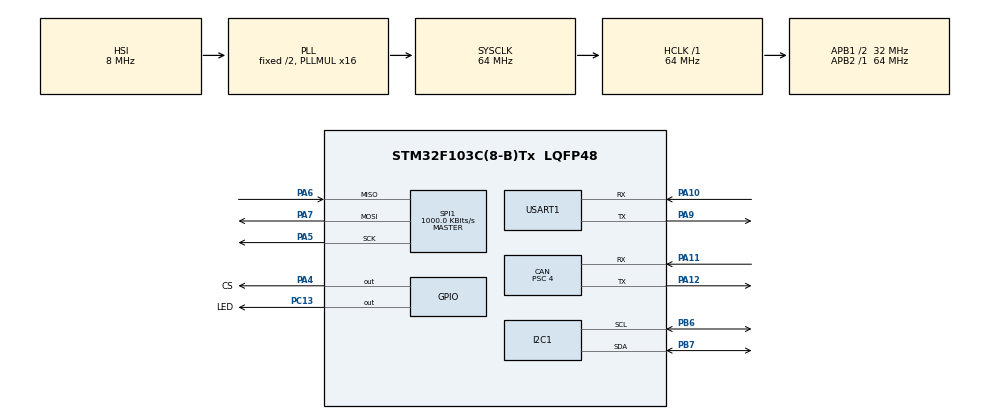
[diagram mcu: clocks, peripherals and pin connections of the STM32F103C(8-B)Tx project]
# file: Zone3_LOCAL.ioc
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CAN.ABOM=ENABLE
CAN.BS1=CAN_BS1_12TQ
CAN.BS2=CAN_BS2_3TQ
CAN.CalculateBaudRate=500000
CAN.CalculateTimeBit=2000
CAN.CalculateTimeQuantum=125.0
CAN.NART=ENABLE
CAN.Prescaler=4
Dma.I2C1_RX.2.Direction=DMA_PERIPH_TO_MEMORY
Dma.I2C1_RX.2.Instance=DMA1_Channel7
Dma.I2C1_RX.2.MemDataAlignment=DMA_MDATAALIGN_BYTE
Dma.I2C1_RX.2.MemInc=DMA_MINC_ENABLE
Dma.I2C1_RX.2.Mode=DMA_NORMAL
Dma.I2C1_RX.2.PeriphDataAlignment=DMA_PDATAALIGN_BYTE
Dma.I2C1_RX.2.PeriphInc=DMA_PINC_DISABLE
Dma.I2C1_RX.2.Priority=DMA_PRIORITY_LOW
Dma.I2C1_TX.3.Direction=DMA_MEMORY_TO_PERIPH
Dma.I2C1_TX.3.Instance=DMA1_Channel6
Dma.I2C1_TX.3.MemDataAlignment=DMA_MDATAALIGN_BYTE
Dma.I2C1_TX.3.MemInc=DMA_MINC_ENABLE
Dma.I2C1_TX.3.Mode=DMA_NORMAL
Dma.I2C1_TX.3.PeriphDataAlignment=DMA_PDATAALIGN_BYTE
Dma.I2C1_TX.3.PeriphInc=DMA_PINC_DISABLE
Dma.I2C1_TX.3.Priority=DMA_PRIORITY_LOW
Dma.Request0=SPI1_TX
Dma.Request1=SPI1_RX
Dma.Request2=I2C1_RX
Dma.Request3=I2C1_TX
Dma.SPI1_RX.1.Direction=DMA_PERIPH_TO_MEMORY
Dma.SPI1_RX.1.Instance=DMA1_Channel2
Dma.SPI1_RX.1.MemDataAlignment=DMA_MDATAALIGN_BYTE
Dma.SPI1_RX.1.MemInc=DMA_MINC_ENABLE
Dma.SPI1_RX.1.Mode=DMA_NORMAL
Dma.SPI1_RX.1.PeriphDataAlignment=DMA_PDATAALIGN_BYTE
Dma.SPI1_RX.1.PeriphInc=DMA_PINC_DISABLE
Dma.SPI1_RX.1.Priority=DMA_PRIORITY_LOW
Dma.SPI1_TX.0.Direction=DMA_MEMORY_TO_PERIPH
Dma.SPI1_TX.0.Instance=DMA1_Channel3
Dma.SPI1_TX.0.MemDataAlignment=DMA_MDATAALIGN_BYTE
Dma.SPI1_TX.0.MemInc=DMA_MINC_ENABLE
Dma.SPI1_TX.0.Mode=DMA_NORMAL
Dma.SPI1_TX.0.PeriphDataAlignment=DMA_PDATAALIGN_BYTE
Dma.SPI1_TX.0.PeriphInc=DMA_PINC_DISABLE
Dma.SPI1_TX.0.Priority=DMA_PRIORITY_LOW
FREERTOS.Tasks01=CAN,48,128,canTask,Default,NULL,Dynamic,NULL,NULL;LED,40,128,ledTask,Default,NULL,Dynamic,NULL,NULL;Accel,32,128,accelTask,Default,NULL,Dynamic,NULL,NULL
I2C1.I2C_Mode=I2C_Fast
Mcu.Family=STM32F1
Mcu.Name=STM32F103C(8-B)Tx
Mcu.Package=LQFP48
NVIC.DMA1_Channel2_IRQn=true\:5\:0\:false\:false\:true\:true\:false\:true\:true
NVIC.DMA1_Channel3_IRQn=true\:5\:0\:false\:false\:true\:true\:false\:true\:true
NVIC.DMA1_Channel6_IRQn=true\:5\:0\:false\:false\:true\:true\:false\:true\:true
NVIC.DMA1_Channel7_IRQn=true\:5\:0\:false\:false\:true\:true\:false\:true\:true
NVIC.PriorityGroup=NVIC_PRIORITYGROUP_4
NVIC.SPI1_IRQn=true\:6\:0\:true\:false\:true\:false\:true\:true\:true
NVIC.USB_LP_CAN1_RX0_IRQn=true\:5\:0\:false\:false\:true\:true\:true\:true\:true
PA10.Mode=Asynchronous
PA10.Signal=USART1_RX
PA11.Mode=CAN_Activate
PA11.Signal=CAN_RX
PA12.Mode=CAN_Activate
PA12.Signal=CAN_TX
PA4.GPIO_Label=CS
PA4.GPIO_Speed=GPIO_SPEED_FREQ_HIGH
PA4.PinState=GPIO_PIN_SET
PA4.Signal=GPIO_Output
PA5.Mode=Full_Duplex_Master
PA5.Signal=SPI1_SCK
PA6.Mode=Full_Duplex_Master
PA6.Signal=SPI1_MISO
PA7.Mode=Full_Duplex_Master
PA7.Signal=SPI1_MOSI
PA9.Mode=Asynchronous
PA9.Signal=USART1_TX
PB6.Mode=I2C
PB6.Signal=I2C1_SCL
PB7.Mode=I2C
PB7.Signal=I2C1_SDA
PC13-TAMPER-RTC.GPIO_Label=LED
PC13-TAMPER-RTC.Signal=GPIO_Output
ProjectManager.HeapSize=0x200
ProjectManager.StackSize=0x400
ProjectManager.TargetToolchain=STM32CubeIDE
RCC.AHBFreq_Value=64000000
RCC.APB1CLKDivider=RCC_HCLK_DIV2
RCC.APB1Freq_Value=32000000
RCC.APB1TimFreq_Value=64000000
RCC.APB2Freq_Value=64000000
RCC.APB2TimFreq_Value=64000000
RCC.HCLKFreq_Value=64000000
RCC.PLLMUL=RCC_PLL_MUL16
RCC.SYSCLKFreq_VALUE=64000000
RCC.SYSCLKSource=RCC_SYSCLKSOURCE_PLLCLK
RCC.USBFreq_Value=64000000
SPI1.BaudRatePrescaler=SPI_BAUDRATEPRESCALER_64
SPI1.CalculateBaudRate=1000.0 KBits/s
SPI1.Direction=SPI_DIRECTION_2LINES
SPI1.Mode=SPI_MODE_MASTER
SPI1.VirtualType=VM_MASTER
USART1.VirtualMode=VM_ASYNC
VP_FREERTOS_VS_CMSIS_V2.Mode=CMSIS_V2
VP_SYS_VS_ND.Mode=No_Debug
board=custom

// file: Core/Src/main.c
#include "main.h"
#include "cmsis_os.h"

CAN_HandleTypeDef hcan;

I2C_HandleTypeDef hi2c1;
DMA_HandleTypeDef hdma_i2c1_rx;
DMA_HandleTypeDef hdma_i2c1_tx;

SPI_HandleTypeDef hspi1;
DMA_HandleTypeDef hdma_spi1_tx;
DMA_HandleTypeDef hdma_spi1_rx;

UART_HandleTypeDef huart1;

/* Definitions for CAN */
osThreadId_t CANHandle;
const osThreadAttr_t CAN_attributes = {
  .name = "CAN",
  .stack_size = 128 * 4,
  .priority = (osPriority_t) osPriorityRealtime,
};
/* Definitions for LED */
osThreadId_t LEDHandle;
const osThreadAttr_t LED_attributes = {
  .name = "LED",
  .stack_size = 128 * 4,
  .priority = (osPriority_t) osPriorityHigh,
};
/* Definitions for Accel */
osThreadId_t AccelHandle;
const osThreadAttr_t Accel_attributes = {
  .name = "Accel",
  .stack_size = 128 * 4,
  .priority = (osPriority_t) osPriorityAboveNormal,
};

void SystemClock_Config(void);
static void MX_GPIO_Init(void);
static void MX_DMA_Init(void);
static void MX_I2C1_Init(void);
static void MX_SPI1_Init(void);
static void MX_CAN_Init(void);
static void MX_USART1_UART_Init(void);
void canTask(void *argument);
void ledTask(void *argument);
void accelTask(void *argument);

// led 동작은 Zone3_LED의 main.c 참고
#include "ADXL345.h"
#include "string.h" //memcpy
#include "stdio.h" // snprinf 로깅용

#define OFF 		0x01
#define READY 		0x02
#define DRIVE 		0x04
#define EMERGENCY	0x08
#define MOTOR_ERR 	0x10
#define CENTRAL_DOWN 0x20
#define BROKEN_SELF 0x40

#define LED_OFF		0xFF // LED 모두 꺼라
#define LED_READY		0x01 // 환영등(Zone 4의 IR 감지 시): LED1 ON, LED2 OFF
#define LED_EMERGENCY 	0x02 // 비상등(Zone 1, 2의 충돌 감지 시): LED1 OFF, LED2 ON
#define LED_CENTER_DOWN	0x04 // 두 LED 모두 깜빡여서 중앙 Down 알림
#define LED_BROKEN_SELF 0x08 // 파란 LED 깜빡여서 스스로의 CAN 고장을 알림

#define FLAG_STATE_OFF			0x11
#define FLAG_STATE_READY		0x22
#define FLAG_STATE_DRIVE		0x44
#define FLAG_STATE_EMERGENCY	0x88

#define FLAG_SPI_DMA_COMPLETE		0x1111
#define FLAG_I2C_DMA_COMPLETE		0x2222

static uint8_t crc_xor(const uint8_t *p, int n) {
  uint8_t c = 0;
  for (int i = 0; i < n; i++) c ^= p[i];
  return c;
}

#pragma pack(push,1)
typedef struct{
	uint8_t header;
	int8_t data;
	uint8_t status;
	uint8_t seq;
	uint16_t reserved;
	uint8_t crc;
	uint8_t tail;
}SPI_Packet_t;
#pragma pack(pop)

typedef union{
	SPI_Packet_t pkt;
	uint8_t bytes[8];
}SPI_Buffer_t;

volatile uint8_t cnt = 0;

void HAL_SPI_TxRxCpltCallback(SPI_HandleTypeDef *hspi) {
    if (hspi->Instance == SPI1) // 사용 중인 SPI 인스턴스 확인
    {
    	osThreadFlagsSet(LEDHandle, FLAG_SPI_DMA_COMPLETE);
    }
}

void HAL_SPI_ErrorCallback(SPI_HandleTypeDef *hspi) {
    if (hspi->Instance == SPI1)
    {
    	osThreadFlagsSet(LEDHandle, FLAG_SPI_DMA_COMPLETE);
    }
}

void HAL_I2C_MemRxCpltCallback(I2C_HandleTypeDef *hi2c) {
    if (hi2c->Instance == I2C1) {
        osThreadFlagsSet(AccelHandle, FLAG_I2C_DMA_COMPLETE);
    }
}
// CAN

#define ID_1_SONIC 0x010
#define ID_1_PEDAL 0x040
#define ID_1_HB 0x071

#define ID_2_SONIC 0x011
#define ID_2_MOTOR_STATUS 0x110
#define ID_2_MOTOR_SPI_ERR 0x020
#define ID_2_HB 0x072

#define ID_3_ACC 0x012
#define ID_3_HB 0x073

#define ID_4_IR 0x142
#define ID_4_BTN 0x144
#define ID_4_HB 0x74

#define ID_CENTRAL_MOTOR_ERR 0x001
#define ID_CENTRAL_EMERGENCY 0x002
#define ID_CENTRAL_STATUS 0x004 // = HEARBEAT ID OF CENTRAL
#define ID_HARDWARE_ERR 0x7FF

typedef enum { // 에러 종류
    ERR_TYPE_RX_STUCK,    // 데이터 갱신 안됨
    ERR_TYPE_RX_TIMEOUT,  // 메시지 자체가 안옴 (heartbeat)
    ERR_TYPE_TX_FAIL,     // 송신 실패 (메일박스 꽉참 )
    ERR_TYPE_HW,          // 하드웨어 에러 (bus-off 등)
    ERR_TYPE_CHKSUM       // 데이터 변조 감지
} CAN_Err_Type;

typedef union {
    struct {
        uint16_t data;
        uint8_t reserved[4];
        uint8_t counter;
        uint8_t checksum;
    } __attribute__((packed)) data16;
    struct {
        uint16_t data1;
        uint16_t data2;
        uint8_t reserved[2];
        uint8_t counter;
        uint8_t checksum;
    } __attribute__((packed)) data32;
    struct {
        int16_t ax;
        int16_t ay;
        int16_t az;
    	uint8_t counter;
    	uint8_t checksum;
        } __attribute__((packed)) accel_data;
    uint8_t bytes[8];
} CAN_Payload_t;

typedef struct {
    int16_t x, y, z;
} AccelData_t;

AccelData_t g_accel_raw; // 공유 자원

typedef struct{
	uint8_t z1;
	uint8_t z2;
	uint8_t z3;
	uint8_t z4;
	uint8_t central;
} CAN_CNT;

CAN_CNT stuck_counter;
CAN_CNT last_counter;
CAN_CNT can_rx_err_cnt;
uint32_t last_zone_rx_time;
uint8_t state_global = OFF;
uint8_t global_tx_counter = 0;

void CAN_ERR_HANDLE(uint32_t ID, CAN_Err_Type type){ //송,수신 포괄 에러 처리
	switch(ID){
	case ID_3_ACC:
		if(type == ERR_TYPE_TX_FAIL){
			state_global = BROKEN_SELF;;
		}
		break;

	case ID_CENTRAL_STATUS:
		can_rx_err_cnt.central++;
		if(can_rx_err_cnt.central>=20 || type == ERR_TYPE_RX_TIMEOUT){
			state_global = CENTRAL_DOWN;
		}
		break;

	case ID_HARDWARE_ERR:
		if(type == ERR_TYPE_HW){
			state_global = BROKEN_SELF;
		}
		break;

	default:
		break;
	}
}

void HAL_CAN_RxFifo0MsgPendingCallback(CAN_HandleTypeDef *hcan)
{
    CAN_RxHeaderTypeDef rxHeader;
    CAN_Payload_t payload = {0};
    if(HAL_CAN_GetRxMessage(hcan, CAN_RX_FIFO0, &rxHeader, payload.bytes) == HAL_OK){
    	if(rxHeader.IDE == CAN_ID_STD){
		uint8_t received_sum = 0;
			for(int i = 0; i<7; i++){ // Checksum
				received_sum += payload.bytes[i];
			}
			if(received_sum != payload.bytes[7]) {
				CAN_ERR_HANDLE(rxHeader.StdId, ERR_TYPE_CHKSUM);
				return; // 이번거 데이터 오염되었다 판단, 그냥 건너뜀
			}
			// 이제 데이터 읽음
			switch(rxHeader.StdId){
			case ID_CENTRAL_MOTOR_ERR:
				if (payload.data16.counter == last_counter.central) {
					if (++stuck_counter.central > 5) {
						CAN_ERR_HANDLE(rxHeader.StdId, ERR_TYPE_RX_STUCK);
						return; // 처리 후 return
					}
				}
				else {
					stuck_counter.central = 0;
					last_counter.central = payload.data16.counter;
				}

				state_global = MOTOR_ERR; // state_global은 8bit인데, 8bit 대입은 atomic하게 처리된다. 별도의 cs나 락필요없
				can_rx_err_cnt.central = 0;
				last_zone_rx_time = HAL_GetTick(); // 중앙제어기 HeartBeat 감지용
				break;

			case ID_CENTRAL_EMERGENCY:
				if (payload.data16.counter == last_counter.central) {
					if (++stuck_counter.central > 5) {
						CAN_ERR_HANDLE(rxHeader.StdId, ERR_TYPE_RX_STUCK);
						return; // 처리 후 return
					}
				}
				else {
					stuck_counter.central = 0;
					last_counter.central = payload.data16.counter;
				}

				state_global = EMERGENCY;
				can_rx_err_cnt.central = 0;
				last_zone_rx_time = HAL_GetTick(); // 중앙제어기 HeartBeat 감지용
				break;

			case ID_CENTRAL_STATUS:
				if(payload.data16.counter == last_counter.central){
					if(++stuck_counter.central > 5){
					CAN_ERR_HANDLE(rxHeader.StdId, ERR_TYPE_RX_STUCK);
					return; // 처리 후 return
					}
				}
				else {
					stuck_counter.central = 0;
					last_counter.central = payload.data16.counter;
				}

				if(rxHeader.DLC == 8){
					state_global = payload.data16.data;
				}
				can_rx_err_cnt.central = 0;
				last_zone_rx_time = HAL_GetTick(); // 중앙제어기 HeartBeat 감지용
				break;
			}
    	}
    }
}

void CAN_INIT() {
	CAN_FilterTypeDef canFilter;

	canFilter.FilterBank = 0;
	canFilter.FilterMode = CAN_FILTERMODE_IDLIST;
	canFilter.FilterScale = CAN_FILTERSCALE_16BIT;
	canFilter.FilterIdHigh = (0x001 << 5);
	canFilter.FilterIdLow = (0x002 << 5);
	canFilter.FilterMaskIdHigh = (0x004 << 5);
	canFilter.FilterMaskIdLow = (0x000 << 5);
	canFilter.FilterFIFOAssignment = CAN_RX_FIFO0;
	canFilter.FilterActivation = ENABLE;
	canFilter.SlaveStartFilterBank = 14;

	if (HAL_CAN_ConfigFilter(&hcan, &canFilter) != HAL_OK) {
		Error_Handler();
	}

	HAL_CAN_Start(&hcan);
	HAL_CAN_ActivateNotification(&hcan, CAN_IT_RX_FIFO0_MSG_PENDING);
}

void HAL_CAN_ErrorCallback(CAN_HandleTypeDef *hcan) {
	      uint32_t err = HAL_CAN_GetError(hcan);
	      uint8_t any = 0;

	      if(err & HAL_CAN_ERROR_BOF){
	    	  any = 1;
	    	  CAN_ERR_HANDLE(ID_HARDWARE_ERR, ERR_TYPE_HW);
	      }

	      if(err & HAL_CAN_ERROR_ACK){
	    	  any = 1;
	    	  can_rx_err_cnt.central++;
	      }

	      if(err & HAL_CAN_ERROR_RX_FOV0){
	    	  any = 1;
	    	  CAN_RxHeaderTypeDef rxHeader;
	    	  uint8_t dummyData[8];

	    	  uint32_t fillLevel = HAL_CAN_GetRxFifoFillLevel(hcan, CAN_RX_FIFO0);

	    	  while (fillLevel > 0) {
	    	  HAL_CAN_GetRxMessage(hcan, CAN_RX_FIFO0, &rxHeader, dummyData);
	    	  fillLevel--;
	    	  }
	      }
	      if(!any){ // 위의 경우들은 아닌경우, 포괄에러처리
	    	  CAN_ERR_HANDLE(ID_HARDWARE_ERR, ERR_TYPE_HW);
	      }
}

void CAN_SEND(uint32_t ID) {
	    CAN_TxHeaderTypeDef txHeader ={0};
	    uint32_t txMailbox;
	    CAN_Payload_t payload ={0};
	    AccelData_t snap_accel;

	    txHeader.IDE = CAN_ID_STD;
	    txHeader.RTR = CAN_RTR_DATA;
	    txHeader.TransmitGlobalTime = DISABLE;
	    txHeader.StdId = ID;
	    txHeader.DLC = 8;

	    switch(ID){
		case ID_3_ACC:
			taskENTER_CRITICAL();
				snap_accel = g_accel_raw;
			taskEXIT_CRITICAL();
			payload.accel_data.ax = snap_accel.x;
			payload.accel_data.ay = snap_accel.y;
			payload.accel_data.az = snap_accel.z;
			break;
		default: // heartbeat
			payload.data16.data = state_global;
	    }

	    payload.data16.counter = global_tx_counter++;
	    uint8_t sum = 0;
	        for (int i = 0; i < 7; i++) {
	        	sum += payload.bytes[i];
	        }
	        payload.data16.checksum = sum;

	    uint32_t tick = HAL_GetTick();
	    while (HAL_CAN_GetTxMailboxesFreeLevel(&hcan) == 0) {
	    	if (HAL_GetTick() - tick > 10) {
	    		CAN_ERR_HANDLE(ID, ERR_TYPE_TX_FAIL); // 메일박스 고임 타임아웃처리
	    		return; // 타임아웃 시 포기
	    	}
	    }

	    if (HAL_CAN_AddTxMessage(&hcan, &txHeader, payload.bytes, &txMailbox) != HAL_OK) {
	    	CAN_ERR_HANDLE(ID, ERR_TYPE_HW); // 창구에서 거절
	    }
}

static void Build_SPI_Packet(SPI_Buffer_t *buffer, uint8_t data){
	uint8_t *b = buffer->bytes;

	b[0] = 0xAA;
	b[1] = data;
	b[2] = state_global;
	b[3] = cnt++;
	b[4] = 0x0; // reserved
	b[5] = 0x0; // reserved
	b[6] = crc_xor(b, 6);
	b[7] = 0xFF;
}
// 재시도 로직이 들어간 Send_Accel_CAN
/*
// 전송 가능한 메일박스가 생길 때까지 대기하는 함수
HAL_StatusTypeDef Wait_And_Send_CAN(CAN_HandleTypeDef *hcan, CAN_TxHeaderTypeDef *pHeader, uint8_t *aData, uint32_t *pMailbox) {
    uint32_t timeout = 10000; // 안전장치용 타임아웃

    // 메일박스 3개가 모두 꽉 차있는 동안 대기
    while (HAL_CAN_GetTxMailboxesFreeLevel(hcan) == 0) {
        timeout--;
        if (timeout == 0) return HAL_TIMEOUT;
    }

    return HAL_CAN_AddTxMessage(hcan, pHeader, aData, pMailbox);
}
*/
int main(void)
{
  HAL_Init();

  SystemClock_Config();

  MX_GPIO_Init();
  MX_DMA_Init();
  MX_I2C1_Init();
  MX_SPI1_Init();
  MX_CAN_Init();
  MX_USART1_UART_Init();

  Init_Accel();
  CAN_INIT();

  osKernelInitialize();

  CANHandle = osThreadNew(canTask, NULL, &CAN_attributes);
  LEDHandle = osThreadNew(ledTask, NULL, &LED_attributes);
  AccelHandle = osThreadNew(accelTask, NULL, &Accel_attributes);

  osKernelStart();

  while (1)
  {

  }
}
void canTask(void *argument)
{
  /* USER CODE BEGIN 5 */
  uint32_t tick = osKernelGetTickCount();
  const uint32_t kPeriod = 10U; // 10ms 주기 (100Hz)
  /* Infinite loop */
  for(;;)
  {
	  tick += kPeriod;

      switch(state_global){
      case OFF:
    	  break;

      case READY:
          if (HAL_GetTick() - last_zone_rx_time > 200) {
              state_global = CENTRAL_DOWN;
              HAL_CAN_Stop(&hcan);
              continue; // 다음 루프로 점프
          }
          CAN_SEND(ID_3_HB); // 하트비트
          break;

      case DRIVE:
          if (HAL_GetTick() - last_zone_rx_time > 200) {
              state_global = CENTRAL_DOWN;
              HAL_CAN_Stop(&hcan);
              continue; // 다음 루프로 점프
          }
          CAN_SEND(ID_3_HB); // 하트비트
          CAN_SEND(ID_3_ACC); // 가속도 전송 - GET
          break;

      case EMERGENCY:
          if (HAL_GetTick() - last_zone_rx_time > 200) {
              state_global = CENTRAL_DOWN;
              HAL_CAN_Stop(&hcan);
              continue; // 다음 루프로 점프
          }
          CAN_SEND(ID_3_HB); // 하트비트
          CAN_SEND(ID_3_ACC); // 가속도 전송 - GET
          break;

      case MOTOR_ERR:
          if (HAL_GetTick() - last_zone_rx_time > 200) {
              state_global = CENTRAL_DOWN;
              HAL_CAN_Stop(&hcan);
              continue; // 다음 루프로 점프
          }
          HAL_CAN_Stop(&hcan);
          break;

      case CENTRAL_DOWN:
      case BROKEN_SELF:
    	  HAL_CAN_Stop(&hcan);
    	  break;
      }
	  osDelayUntil(tick); // 100Hz
  }
  /* USER CODE END 5 */
}

void ledTask(void *argument)
{
  /* USER CODE BEGIN ledTask */
  SPI_Buffer_t txBuf;
  SPI_Buffer_t rxBuf; // Dummy
  uint8_t LED_COMMAND;
  /* Infinite loop */
  for(;;)
  {
	  switch(state_global){ // 상태에 따라 led 명령 선택
	  case OFF:
		  LED_COMMAND = LED_OFF;
		  break;
	  case READY:
		  LED_COMMAND = LED_READY;
		  break;
	  case DRIVE:
		  LED_COMMAND = LED_OFF;
		  break;
	  case EMERGENCY:
		  LED_COMMAND = LED_EMERGENCY;
		  break;
	  case MOTOR_ERR:
		  LED_COMMAND = LED_CENTER_DOWN;
		  break;
	  case CENTRAL_DOWN:
		  LED_COMMAND = LED_CENTER_DOWN;
		  break;
	  case BROKEN_SELF:
		  LED_COMMAND = LED_BROKEN_SELF;
		  break;
	  default:
		  LED_COMMAND = LED_OFF;
		  break;
	  }

	  Build_SPI_Packet(&txBuf, LED_COMMAND); // 패킷만들기

	  HAL_GPIO_WritePin(CS_GPIO_Port, CS_Pin, GPIO_PIN_RESET);
	  if(HAL_SPI_TransmitReceive_DMA(&hspi1, txBuf.bytes, rxBuf.bytes, 8) == HAL_OK) {
		  osThreadFlagsWait(FLAG_SPI_DMA_COMPLETE, osFlagsWaitAny, 20); // 완료 대기
		  // SPI 하드웨어가 마지막 비트까지 다 보낼 때까지 대기
		  while(HAL_SPI_GetState(&hspi1) != HAL_SPI_STATE_READY);
	  }
	  HAL_GPIO_WritePin(CS_GPIO_Port, CS_Pin, GPIO_PIN_SET);
	  osDelay(300);
  }
  /* USER CODE END ledTask */
}

void accelTask(void *argument)
{
  /* USER CODE BEGIN accelTask */
  uint32_t tick = osKernelGetTickCount();
  uint32_t interval; // 주기를 담을 변수
  /* Infinite loop */
  for(;;)
  {
	  switch(state_global){
	  case EMERGENCY:
	  case DRIVE:
		  interval = 10; // 10ms
		  Read_Accel();
		  uint32_t ret = osThreadFlagsWait(FLAG_I2C_DMA_COMPLETE, osFlagsWaitAny, 40);
		  if(!(ret & 0x80000000)){ // 에러없음
			  interval = 10; // 10ms 주기
			  Accel_ProcessData();
		  	  taskENTER_CRITICAL(); // 인터럽트 중지 - Put // 48비트 업데이트해야 되는데 Cortex M3는 32비트라서 Atomic아니라 데이터 찢어질수도 있음.
		  	  g_accel_raw.x = (int16_t)(ax * 100.0f);
		  	  g_accel_raw.y = (int16_t)(ay * 100.0f);
		  	  g_accel_raw.z = (int16_t)(az * 100.0f);
		  	  taskEXIT_CRITICAL(); // 인터럽트 재개
		  }
		  break;
	  default:
		  interval = 1; // 1ms
	  }
	  tick += interval;
	  osDelayUntil(tick);
  }
  /* USER CODE END accelTask */
}

void SystemClock_Config(void)
{
  RCC_OscInitTypeDef RCC_OscInitStruct = {0};
  RCC_ClkInitTypeDef RCC_ClkInitStruct = {0};

  /** Initializes the RCC Oscillators according to the specified parameters
  * in the RCC_OscInitTypeDef structure.
  */
  RCC_OscInitStruct.OscillatorType = RCC_OSCILLATORTYPE_HSI;
  RCC_OscInitStruct.HSIState = RCC_HSI_ON;
  RCC_OscInitStruct.HSICalibrationValue = RCC_HSICALIBRATION_DEFAULT;
  RCC_OscInitStruct.PLL.PLLState = RCC_PLL_ON;
  RCC_OscInitStruct.PLL.PLLSource = RCC_PLLSOURCE_HSI_DIV2;
  RCC_OscInitStruct.PLL.PLLMUL = RCC_PLL_MUL16;
  if (HAL_RCC_OscConfig(&RCC_OscInitStruct) != HAL_OK)
  {
    Error_Handler();
  }

  /** Initializes the CPU, AHB and APB buses clocks
  */
  RCC_ClkInitStruct.ClockType = RCC_CLOCKTYPE_HCLK|RCC_CLOCKTYPE_SYSCLK
                              |RCC_CLOCKTYPE_PCLK1|RCC_CLOCKTYPE_PCLK2;
  RCC_ClkInitStruct.SYSCLKSource = RCC_SYSCLKSOURCE_PLLCLK;
  RCC_ClkInitStruct.AHBCLKDivider = RCC_SYSCLK_DIV1;
  RCC_ClkInitStruct.APB1CLKDivider = RCC_HCLK_DIV2;
  RCC_ClkInitStruct.APB2CLKDivider = RCC_HCLK_DIV1;

  if (HAL_RCC_ClockConfig(&RCC_ClkInitStruct, FLASH_LATENCY_2) != HAL_OK)
  {
    Error_Handler();
  }
}

static void MX_CAN_Init(void)
{

  hcan.Instance = CAN1;
  hcan.Init.Prescaler = 4;
  hcan.Init.Mode = CAN_MODE_NORMAL;
  hcan.Init.SyncJumpWidth = CAN_SJW_1TQ;
  hcan.Init.TimeSeg1 = CAN_BS1_12TQ;
  hcan.Init.TimeSeg2 = CAN_BS2_3TQ;
  hcan.Init.TimeTriggeredMode = DISABLE;
  hcan.Init.AutoBusOff = ENABLE;
  hcan.Init.AutoWakeUp = DISABLE;
  hcan.Init.AutoRetransmission = ENABLE;
  hcan.Init.ReceiveFifoLocked = DISABLE;
  hcan.Init.TransmitFifoPriority = DISABLE;
  if (HAL_CAN_Init(&hcan) != HAL_OK)
  {
    Error_Handler();
  }

}

static void MX_I2C1_Init(void)
{

  hi2c1.Instance = I2C1;
  hi2c1.Init.ClockSpeed = 400000;
  hi2c1.Init.DutyCycle = I2C_DUTYCYCLE_2;
  hi2c1.Init.OwnAddress1 = 0;
  hi2c1.Init.AddressingMode = I2C_ADDRESSINGMODE_7BIT;
  hi2c1.Init.DualAddressMode = I2C_DUALADDRESS_DISABLE;
  hi2c1.Init.OwnAddress2 = 0;
  hi2c1.Init.GeneralCallMode = I2C_GENERALCALL_DISABLE;
  hi2c1.Init.NoStretchMode = I2C_NOSTRETCH_DISABLE;
  if (HAL_I2C_Init(&hi2c1) != HAL_OK)
  {
    Error_Handler();
  }

}

static void MX_SPI1_Init(void)
{

  /* SPI1 parameter configuration*/
  hspi1.Instance = SPI1;
  hspi1.Init.Mode = SPI_MODE_MASTER;
  hspi1.Init.Direction = SPI_DIRECTION_2LINES;
  hspi1.Init.DataSize = SPI_DATASIZE_8BIT;
  hspi1.Init.CLKPolarity = SPI_POLARITY_LOW;
  hspi1.Init.CLKPhase = SPI_PHASE_1EDGE;
  hspi1.Init.NSS = SPI_NSS_SOFT;
  hspi1.Init.BaudRatePrescaler = SPI_BAUDRATEPRESCALER_64;
  hspi1.Init.FirstBit = SPI_FIRSTBIT_MSB;
  hspi1.Init.TIMode = SPI_TIMODE_DISABLE;
  hspi1.Init.CRCCalculation = SPI_CRCCALCULATION_DISABLE;
  hspi1.Init.CRCPolynomial = 10;
  if (HAL_SPI_Init(&hspi1) != HAL_OK)
  {
    Error_Handler();
  }

}

static void MX_USART1_UART_Init(void)
{

  huart1.Instance = USART1;
  huart1.Init.BaudRate = 115200;
  huart1.Init.WordLength = UART_WORDLENGTH_8B;
  huart1.Init.StopBits = UART_STOPBITS_1;
  huart1.Init.Parity = UART_PARITY_NONE;
  huart1.Init.Mode = UART_MODE_TX_RX;
  huart1.Init.HwFlowCtl = UART_HWCONTROL_NONE;
  huart1.Init.OverSampling = UART_OVERSAMPLING_16;
  if (HAL_UART_Init(&huart1) != HAL_OK)
  {
    Error_Handler();
  }

}

static void MX_DMA_Init(void)
{

  /* DMA controller clock enable */
  __HAL_RCC_DMA1_CLK_ENABLE();

  /* DMA interrupt init */
  /* DMA1_Channel2_IRQn interrupt configuration */
  HAL_NVIC_SetPriority(DMA1_Channel2_IRQn, 5, 0);
  HAL_NVIC_EnableIRQ(DMA1_Channel2_IRQn);
  /* DMA1_Channel3_IRQn interrupt configuration */
  HAL_NVIC_SetPriority(DMA1_Channel3_IRQn, 5, 0);
  HAL_NVIC_EnableIRQ(DMA1_Channel3_IRQn);
  /* DMA1_Channel6_IRQn interrupt configuration */
  HAL_NVIC_SetPriority(DMA1_Channel6_IRQn, 5, 0);
  HAL_NVIC_EnableIRQ(DMA1_Channel6_IRQn);
  /* DMA1_Channel7_IRQn interrupt configuration */
  HAL_NVIC_SetPriority(DMA1_Channel7_IRQn, 5, 0);
  HAL_NVIC_EnableIRQ(DMA1_Channel7_IRQn);

}

static void MX_GPIO_Init(void)
{
  GPIO_InitTypeDef GPIO_InitStruct = {0};

  /* GPIO Ports Clock Enable */
  __HAL_RCC_GPIOC_CLK_ENABLE();
  __HAL_RCC_GPIOA_CLK_ENABLE();
  __HAL_RCC_GPIOB_CLK_ENABLE();

  /*Configure GPIO pin Output Level */
  HAL_GPIO_WritePin(LED_GPIO_Port, LED_Pin, GPIO_PIN_RESET);

  /*Configure GPIO pin Output Level */
  HAL_GPIO_WritePin(CS_GPIO_Port, CS_Pin, GPIO_PIN_SET);

  /*Configure GPIO pin : LED_Pin */
  GPIO_InitStruct.Pin = LED_Pin;
  GPIO_InitStruct.Mode = GPIO_MODE_OUTPUT_PP;
  GPIO_InitStruct.Pull = GPIO_NOPULL;
  GPIO_InitStruct.Speed = GPIO_SPEED_FREQ_LOW;
  HAL_GPIO_Init(LED_GPIO_Port, &GPIO_InitStruct);

  /*Configure GPIO pin : CS_Pin */
  GPIO_InitStruct.Pin = CS_Pin;
  GPIO_InitStruct.Mode = GPIO_MODE_OUTPUT_PP;
  GPIO_InitStruct.Pull = GPIO_NOPULL;
  GPIO_InitStruct.Speed = GPIO_SPEED_FREQ_HIGH;
  HAL_GPIO_Init(CS_GPIO_Port, &GPIO_InitStruct);

}

void canTask(void *argument)
{
  /* USER CODE BEGIN 5 */
  uint32_t tick = osKernelGetTickCount();
  const uint32_t kPeriod = 10U; // 10ms 주기 (100Hz)
  /* Infinite loop */
  for(;;)
  {
	  tick += kPeriod;

      switch(state_global){
      case OFF:
    	  break;

      case READY:
          if (HAL_GetTick() - last_zone_rx_time > 200) {
              state_global = CENTRAL_DOWN;
              HAL_CAN_Stop(&hcan);
              continue; // 다음 루프로 점프
          }
          CAN_SEND(ID_3_HB); // 하트비트 데이터로는 모터 PWM 상태 보냄
          break;

      case DRIVE:
          if (HAL_GetTick() - last_zone_rx_time > 200) {
              state_global = CENTRAL_DOWN;
              HAL_CAN_Stop(&hcan);
              continue; // 다음 루프로 점프
          }
          CAN_SEND(ID_3_HB); // 하트비트 데이터로는 모터 PWM 상태 보냄
          CAN_SEND(ID_3_ACC); // 가속도 전송 - GET
          break;

      case EMERGENCY:
          if (HAL_GetTick() - last_zone_rx_time > 200) {
              state_global = CENTRAL_DOWN;
              HAL_CAN_Stop(&hcan);
              continue; // 다음 루프로 점프
          }
          CAN_SEND(ID_3_HB); // 하트비트 데이터로는 모터 PWM 상태 보냄
          CAN_SEND(ID_3_ACC); // 가속도 전송 - GET
          break;

      case MOTOR_ERR:
          if (HAL_GetTick() - last_zone_rx_time > 200) {
              state_global = CENTRAL_DOWN;
              HAL_CAN_Stop(&hcan);
              continue; // 다음 루프로 점프
          }
          HAL_CAN_Stop(&hcan);
          break;

      case CENTRAL_DOWN:
      case BROKEN_SELF:
    	  HAL_CAN_Stop(&hcan);
    	  break;
      }
	  osDelayUntil(tick); // 100Hz
	  // osDelay는 10ms+작업 주기임
  }
  /* USER CODE END 5 */
}

void ledTask(void *argument)
{
  /* USER CODE BEGIN ledTask */
  SPI_Buffer_t txBuf;
  SPI_Buffer_t rxBuf; // Dummy
  uint8_t LED_COMMAND;
  /* Infinite loop */
  for(;;)
  {
	  switch(state_global){
	  case OFF:
		  LED_COMMAND = LED_OFF;
		  break;
	  case READY:
		  LED_COMMAND = LED_READY;
		  break;
	  case DRIVE:
		  LED_COMMAND = LED_OFF;
		  break;
	  case EMERGENCY:
		  LED_COMMAND = LED_EMERGENCY;
		  break;
	  case MOTOR_ERR:
		  LED_COMMAND = LED_CENTER_DOWN;
		  break;
	  case CENTRAL_DOWN:
		  LED_COMMAND = LED_CENTER_DOWN;
		  break;
	  case BROKEN_SELF:
		  LED_COMMAND = LED_BROKEN_SELF;
		  break;
	  default:
		  LED_COMMAND = LED_OFF;
		  break;
	  }

	  Build_SPI_Packet(&txBuf, LED_COMMAND);

	  HAL_GPIO_TogglePin(LED_GPIO_Port, LED_Pin); // 걍 동작 확인용

	  HAL_GPIO_WritePin(CS_GPIO_Port, CS_Pin, GPIO_PIN_RESET);
	  if(HAL_SPI_TransmitReceive_DMA(&hspi1, txBuf.bytes, rxBuf.bytes, 8) == HAL_OK) {
		  osThreadFlagsWait(FLAG_SPI_DMA_COMPLETE, osFlagsWaitAny, 20); // 완료 대기
		  // SPI 하드웨어가 마지막 비트까지 다 보낼 때까지 대기
		  while(HAL_SPI_GetState(&hspi1) != HAL_SPI_STATE_READY);
	  }
	  HAL_GPIO_WritePin(CS_GPIO_Port, CS_Pin, GPIO_PIN_SET);
	  osDelay(300);
  }
  /* USER CODE END ledTask */
}

void accelTask(void *argument)
{
  /* USER CODE BEGIN accelTask */
  uint32_t tick = osKernelGetTickCount();
  uint32_t interval; // 주기를 담을 변수
  /* Infinite loop */
  for(;;)
  {
	  switch(state_global){
	  case EMERGENCY:
	  case DRIVE:
		  interval = 10; // 10ms
		  Read_Accel();
		  uint32_t ret = osThreadFlagsWait(FLAG_I2C_DMA_COMPLETE, osFlagsWaitAny, 40);
		  if(!(ret & 0x80000000)){ // 에러없음
			  interval = 10; // 10ms 주기
			  Accel_ProcessData();
		  	  taskENTER_CRITICAL(); // 인터럽트 중지 - Put
		  	  g_accel_raw.x = (int16_t)(ax * 100.0f);
		  	  g_accel_raw.y = (int16_t)(ay * 100.0f);
		  	  g_accel_raw.z = (int16_t)(az * 100.0f);
		  	  taskEXIT_CRITICAL(); // 인터럽트 재개
		  }
		  break;
	  default:
		  interval = 1; // 1ms
	  }
	  tick += interval;
	  osDelayUntil(tick);
  }
  /* USER CODE END accelTask */
}

void Error_Handler(void)
{
  __disable_irq();
  while (1)
  {
  }
}
